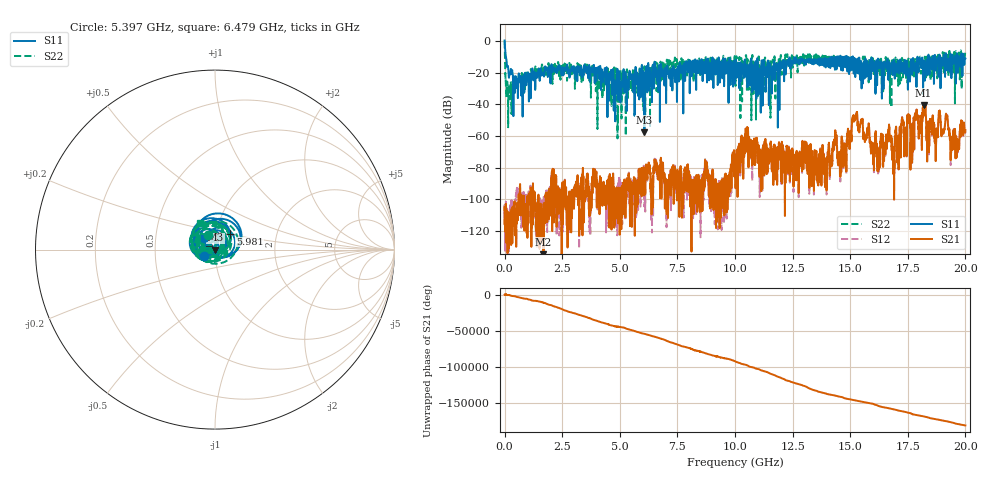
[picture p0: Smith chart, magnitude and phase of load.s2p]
! MS46122B
! 2250307/22442219
! 2/18/2026 2:07:39 PM
! C:\USERS\SPARKY\DOCUMENTS\VNA_DATA\FEB18_2026\7K2\LOAD.S2P
! CHANNEL.1
! TR.MEASUREMENT
! RAW.DATA
# GHZ S RI R 50.0
! FREQ.GHZ  S11RE  S11IM  S21RE  S21IM  S12RE  S12IM  S22RE  S22IM
!; PortSelection: Port_12
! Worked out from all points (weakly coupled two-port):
!   10001 points, 1 MHz to 20 GHz, reference 50 ohm
!   highest |S21| = -40.35 dB at 18.18 GHz (marker M1); lowest = -140.0 dB at 1.689 GHz (marker M2)
!   lowest |S11| = -57.7 dB at 6.069 GHz (marker M3), VSWR 1.00, Z = 50.1 - j0.00261 ohm
!   |S11| at or under -10 dB: 57.86 MHz to 14.17 GHz (14.11 GHz wide, 198 % of centre); 15.13 GHz to 17.92 GHz (2.79 GHz wide, 16.9 % of centre); 17.92 GHz to 18.38 GHz (456.7 MHz wide, 2.52 % of centre) (the widest 3 of 25)
!   |S22| runs from -61.5 to -0.2 dB; largest |S21 - S12| = 0.00094
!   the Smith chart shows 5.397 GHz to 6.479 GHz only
!   S11 on the Smith chart (normalised r, x): 5.397 GHz: 0.88, -0.06; 5.981 GHz: 1.17, +0.21; 6.479 GHz: 0.87, +0.11
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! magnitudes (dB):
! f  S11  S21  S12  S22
! 1 MHz  0.4  -106.7  -112.1  -0.2
! 235 MHz  -21.2  -113.1  -107.1  -31.1
! 1.689 GHz  -20.5  -140.0  -102.4  -17.3
! 3.335 GHz  -16.4  -87.5  -86.4  -24.8
! 5.397 GHz  -23.1  -88.2  -86.0  -20.8
! 5.981 GHz  -18.1  -87.0  -85.7  -20.2
! 6.069 GHz  -57.7  -94.0  -98.8  -15.9
! 6.479 GHz  -20.8  -83.3  -82.1  -15.4
! 6.669 GHz  -31.4  -83.5  -84.4  -25.9
! 10 GHz  -22.2  -85.5  -86.4  -10.8
! 10.52 GHz  -18.1  -59.0  -59.0  -20.9
! 11.1 GHz  -19.3  -73.2  -72.5  -16.4
! 13.33 GHz  -14.4  -86.4  -89.1  -12.4
! 14.33 GHz  -16.7  -65.7  -65.8  -13.7
! 14.52 GHz  -11.0  -70.1  -70.6  -13.1
! 15.21 GHz  -15.0  -48.3  -48.3  -12.4
! 16.22 GHz  -12.0  -78.6  -78.0  -18.9
! 16.67 GHz  -17.2  -56.2  -56.2  -15.6
! 16.85 GHz  -21.3  -72.2  -72.3  -17.3
! 18.18 GHz  -14.1  -40.3  -40.3  -20.4
! 19.65 GHz  -10.5  -61.9  -62.1  -10.2
! 20 GHz  -11.0  -56.3  -57.1  -6.1
